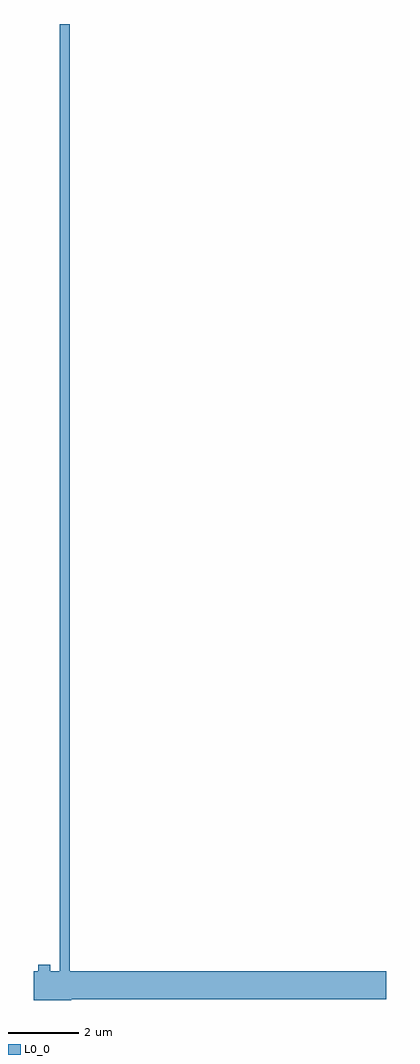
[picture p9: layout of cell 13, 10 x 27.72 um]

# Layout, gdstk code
import gdstk
lib = gdstk.Library(unit=1e-6, precision=1e-09)
def P(c, l, *ps):  # polygons
    for p in ps: c.add(gdstk.Polygon(p, *l))
L0_0 = (0, 0)

c_13 = lib.new_cell('13')
P(c_13, L0_0, [(1200,739.6),(1201.2,739.6),(1201.2,738.8),(1200,738.8),(1200,739.6)],
  [(1210,738.8),(1200.8,738.8),(1200.8,739.6),(1210,739.6),(1210,738.8)],
  [(1201.2,739.6),(1201.2,738.8),(1200.54,738.8),(1200.54,739.6),(1201.2,739.6)],
  [(1200,739.6),(1200.12,739.6),(1200.12,739.775),(1200.46,739.775),(1200.46,739.6),(1201.2,739.6),(1201.2,738.8),(1200,738.8),(1200,739.6)],
  [(1200,739.6),(1200.54,739.6),(1200.54,738.8),(1200,738.8),(1200,739.6)],
  [(1200,739.6),(1200.54,739.6),(1200.54,738.8),(1200,738.8),(1200,739.6)],
  [(1201.2,739.6),(1201.2,738.8),(1200.54,738.8),(1200.54,739.6),(1201.2,739.6)],
  [(1200,739.6),(1200.12,739.6),(1200.12,739.775),(1200.46,739.775),(1200.46,739.6),(1201.2,739.6),(1201.2,738.8),(1200,738.8),(1200,739.6)],
  [(1210,738.8),(1200.8,738.8),(1200.8,739.6),(1210,739.6),(1210,738.8)],
  [(1200,739.6),(1200.54,739.6),(1200.54,738.8),(1200,738.8),(1200,739.6)],
  [(1201.2,739.6),(1201.2,738.8),(1200.54,738.8),(1200.54,739.6),(1201.2,739.6)],
  [(1200,739.6),(1200.12,739.6),(1200.12,739.775),(1200.46,739.775),(1200.46,739.6),(1201.2,739.6),(1201.2,738.8),(1200,738.8),(1200,739.6)],
  [(1201.2,739.6),(1201.2,738.8),(1200.54,738.8),(1200.54,739.6),(1201.2,739.6)],
  [(1200,739.6),(1200.12,739.6),(1200.12,739.775),(1200.46,739.775),(1200.46,739.6),(1201.2,739.6),(1201.2,738.8),(1200,738.8),(1200,739.6)],
  [(1200,739.06),(1201.01,739.06),(1201.01,738.78),(1200,738.78),(1200,739.06)],
  [(1200.68,739.06),(1201.06,739.06),(1201.06,738.78),(1200.68,738.78),(1200.68,739.06)],
  [(1200.68,739.06),(1201.06,739.06),(1201.06,738.78),(1200.68,738.78),(1200.68,739.06)],
  [(1200.73,738.78),(1200.73,766.5),(1201.01,766.5),(1201.01,738.78),(1200.73,738.78)])

lib.write_gds('13.gds')
